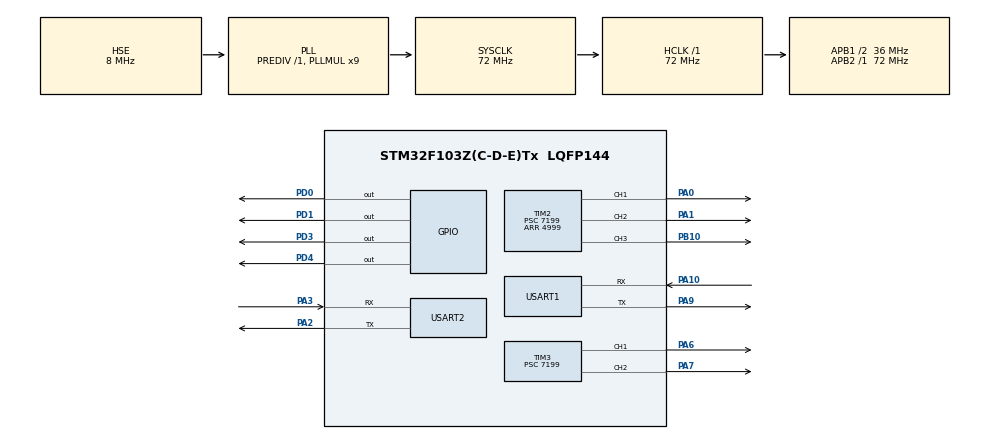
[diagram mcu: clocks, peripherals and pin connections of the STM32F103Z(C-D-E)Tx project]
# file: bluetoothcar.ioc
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Mcu.Family=STM32F1
RCC.PLLSourceVirtual=RCC_PLLSOURCE_HSE
PC15-OSC32_OUT.Mode=LSE-External-Oscillator
PA10.Mode=Asynchronous
TIM3.AutoReloadPreload=TIM_AUTORELOAD_PRELOAD_ENABLE
PD3.Signal=GPIO_Output
PD1.Signal=GPIO_Output
TIM2.Channel-PWM\ Generation2\ CH2=TIM_CHANNEL_2
RCC.APB1CLKDivider=RCC_HCLK_DIV2
PC14-OSC32_IN.Signal=RCC_OSC32_IN
NVIC.USART2_IRQn=true\:0\:0\:false\:false\:true\:true\:true
RCC.SYSCLKSource=RCC_SYSCLKSOURCE_PLLCLK
ProjectManager.StackSize=0x400
PA0-WKUP.Signal=S_TIM2_CH1_ETR
PA13.Signal=SYS_JTMS-SWDIO
PA3.Mode=Asynchronous
SH.S_TIM2_CH2.0=TIM2_CH2,PWM Generation2 CH2
PA9.Mode=Asynchronous
ProjectManager.TargetToolchain=STM32CubeIDE
RCC.HCLKFreq_Value=72000000
PD4.Signal=GPIO_Output
RCC.APB2TimFreq_Value=72000000
TIM3.Period=2799
PA9.Signal=USART1_TX
PD0.Signal=GPIO_Output
OSC_IN.Signal=RCC_OSC_IN
RCC.USBFreq_Value=72000000
OSC_OUT.Mode=HSE-External-Oscillator
OSC_OUT.Signal=RCC_OSC_OUT
PC15-OSC32_OUT.Signal=RCC_OSC32_OUT
PA1.Signal=S_TIM2_CH2
RCC.AHBFreq_Value=72000000
TIM3.Channel-PWM\ Generation1\ CH1=TIM_CHANNEL_1
PB10.Signal=S_TIM2_CH3
SH.S_TIM3_CH2.0=TIM3_CH2,PWM Generation2 CH2
board=custom
RCC.PLLMUL=RCC_PLL_MUL9
RCC.APB2Freq_Value=72000000
PC14-OSC32_IN.Mode=LSE-External-Oscillator
VP_TIM2_VS_ClockSourceINT.Mode=Internal
SH.S_TIM2_CH3.0=TIM2_CH3,PWM Generation3 CH3
PA14.Mode=Serial_Wire
TIM3.Prescaler=7199
NVIC.TIM2_IRQn=true\:0\:0\:false\:false\:true\:true\:true
TIM2.Channel-PWM\ Generation3\ CH3=TIM_CHANNEL_3
TIM2.Channel-PWM\ Generation1\ CH1=TIM_CHANNEL_1
SH.S_TIM3_CH1.0=TIM3_CH1,PWM Generation1 CH1
TIM2.Period=4999
PA13.Mode=Serial_Wire
Mcu.Name=STM32F103Z(C-D-E)Tx
PA2.Signal=USART2_TX
RCC.SYSCLKFreq_VALUE=72000000
Mcu.Package=LQFP144
TIM2.Prescaler=7199
PA6.Signal=S_TIM3_CH1
OSC_IN.Mode=HSE-External-Oscillator
USART2.VirtualMode=VM_ASYNC
USART1.VirtualMode=VM_ASYNC
SH.S_TIM2_CH1_ETR.0=TIM2_CH1,PWM Generation1 CH1
PA10.Signal=USART1_RX
PA14.Signal=SYS_JTCK-SWCLK
ProjectManager.HeapSize=0x200
NVIC.PriorityGroup=NVIC_PRIORITYGROUP_4
TIM3.Channel-PWM\ Generation2\ CH2=TIM_CHANNEL_2
RCC.APB1TimFreq_Value=72000000
PA2.Mode=Asynchronous
TIM2.AutoReloadPreload=TIM_AUTORELOAD_PRELOAD_ENABLE
NVIC.USART1_IRQn=true\:7\:0\:true\:false\:true\:true\:true
RCC.APB1Freq_Value=36000000
VP_TIM3_VS_ClockSourceINT.Mode=Internal
NVIC.RCC_IRQn=true\:7\:0\:true\:false\:true\:true\:false
PA3.Signal=USART2_RX
PA7.Signal=S_TIM3_CH2

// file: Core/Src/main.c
/* USER CODE BEGIN Header */
/**
  ******************************************************************************
  * @file           : main.c
  * @brief          : Main program body
  ******************************************************************************
  * @attention
  *
  * <h2><center>&copy; Copyright (c) 2020 STMicroelectronics.
  * All rights reserved.</center></h2>
  *
  * This software component is licensed by ST under BSD 3-Clause license,
  * the "License"; You may not use this file except in compliance with the
  * License. You may obtain a copy of the License at:
  *                        opensource.org/licenses/BSD-3-Clause
  *
  ******************************************************************************
  */
/* USER CODE END Header */
#include "main.h"
#include "tim.h"
#include "usart.h"
#include "gpio.h"

/* USER CODE BEGIN Includes */
#include <string.h>
#include "deal.h"

#define RXBUFFERSIZE  256
char RxBuffer[RXBUFFERSIZE];
uint8_t aRxBuffer;
uint8_t Uart2_Rx_Cnt = 0;
extern UART_HandleTypeDef huart2;
float Fspeed=0;
float tmultiple=1;
/* USER CODE END Includes */

void SystemClock_Config(void);

int main(void)
{

  /* MCU Configuration--------------------------------------------------------*/

  /* Reset of all peripherals, Initializes the Flash interface and the Systick. */
  HAL_Init();

  /* Configure the system clock */
  SystemClock_Config();

  /* Initialize all configured peripherals */
  MX_GPIO_Init();
  MX_USART1_UART_Init();
  MX_TIM2_Init();
  MX_USART2_UART_Init();
  MX_TIM3_Init();
  /* USER CODE BEGIN 2 */
  htim3.Instance->CCR1 = 300;

    char a[5] = "AF";
    int send = sizeof(a);
    HAL_UART_Receive_IT(&huart2, (uint8_t *) &aRxBuffer, 1);
    HAL_TIM_Base_Start_IT(&htim2);
    //htim3.Instance->CCR1 =0.5*2799;
    //htim3.Instance->CCR2 =0.5*2799;
    //HAL_GPIO_WritePin(GPIOD,GPIO_PIN_0,GPIO_PIN_SET);
    //HAL_GPIO_WritePin(GPIOD,GPIO_PIN_1,GPIO_PIN_RESET);
    //HAL_GPIO_WritePin(GPIOD,GPIO_PIN_3,GPIO_PIN_SET);
    //HAL_GPIO_WritePin(GPIOD,GPIO_PIN_4,GPIO_PIN_RESET);

  /* USER CODE END 2 */

  /* Infinite loop */
    while (1) {

    /* USER CODE BEGIN 3 */
    //HAL_UART_Transmit(&huart2,"12323\r\n",7,100);
    //HAL_Delay(100);
    }
  /* USER CODE END 3 */
}

void SystemClock_Config(void)
{
  RCC_OscInitTypeDef RCC_OscInitStruct = {0};
  RCC_ClkInitTypeDef RCC_ClkInitStruct = {0};

  /** Initializes the RCC Oscillators according to the specified parameters
  * in the RCC_OscInitTypeDef structure.
  */
  RCC_OscInitStruct.OscillatorType = RCC_OSCILLATORTYPE_HSE;
  RCC_OscInitStruct.HSEState = RCC_HSE_ON;
  RCC_OscInitStruct.HSEPredivValue = RCC_HSE_PREDIV_DIV1;
  RCC_OscInitStruct.HSIState = RCC_HSI_ON;
  RCC_OscInitStruct.PLL.PLLState = RCC_PLL_ON;
  RCC_OscInitStruct.PLL.PLLSource = RCC_PLLSOURCE_HSE;
  RCC_OscInitStruct.PLL.PLLMUL = RCC_PLL_MUL9;
  if (HAL_RCC_OscConfig(&RCC_OscInitStruct) != HAL_OK)
  {
    Error_Handler();
  }
  /** Initializes the CPU, AHB and APB buses clocks
  */
  RCC_ClkInitStruct.ClockType = RCC_CLOCKTYPE_HCLK|RCC_CLOCKTYPE_SYSCLK
                              |RCC_CLOCKTYPE_PCLK1|RCC_CLOCKTYPE_PCLK2;
  RCC_ClkInitStruct.SYSCLKSource = RCC_SYSCLKSOURCE_PLLCLK;
  RCC_ClkInitStruct.AHBCLKDivider = RCC_SYSCLK_DIV1;
  RCC_ClkInitStruct.APB1CLKDivider = RCC_HCLK_DIV2;
  RCC_ClkInitStruct.APB2CLKDivider = RCC_HCLK_DIV1;

  if (HAL_RCC_ClockConfig(&RCC_ClkInitStruct, FLASH_LATENCY_2) != HAL_OK)
  {
    Error_Handler();
  }
}

/* USER CODE BEGIN 4 */

void HAL_UART_RxCpltCallback(UART_HandleTypeDef *huart) {
    /* Prevent unused argument(s) compilation warning */
    //UNUSED(huart);
    /* NOTE: This function Should not be modified, when the callback is needed,
             the HAL_UART_TxCpltCallback could be implemented in the user file
     */

    if (Uart2_Rx_Cnt >= 9)  //婧㈠嚭鍒ゆ柇
    {
        Uart2_Rx_Cnt = 0;
        memset(RxBuffer, 0x00, sizeof(RxBuffer));
        HAL_UART_Transmit(&huart2, (uint8_t *) "Out!", 10, 0xFFFF);

    }
    else
    {
        RxBuffer[Uart2_Rx_Cnt++] = aRxBuffer;   //鎺ユ敹鏁版嵁杞�?
        //char a[]="Hello World";
        //HAL_UART_Transmit(&huart1, a, sizeof(a), 0xFFFF);
        if (1) //鍒ゆ柇缁撴潫�??
        {
            //HAL_UART_Transmit(&huart1, (uint8_t *) RxBuffer, Uart2_Rx_Cnt, 0xFFFF); //灏嗘敹鍒扮殑淇℃伅鍙�??佸嚭�??
            //while (HAL_UART_GetState(&huart2) == HAL_UART_STATE_BUSY_TX);//�??娴婾ART鍙戦?佺粨�??
            //HAL_Delay(10);
            dealfirst(RxBuffer);
            Uart2_Rx_Cnt = 0;
            memset(RxBuffer, 0x00, sizeof(RxBuffer));
        }
    }

    HAL_UART_Receive_IT(&huart2, (uint8_t *) &aRxBuffer, 1);
}

void HAL_TIM_PeriodElapsedCallback(TIM_HandleTypeDef *htim)
{

    if (htim == (&htim2))
    {
        work();
    }
}
/* USER CODE END 4 */

void Error_Handler(void)
{
}

/************************ (C) COPYRIGHT STMicroelectronics *****END OF FILE****/
